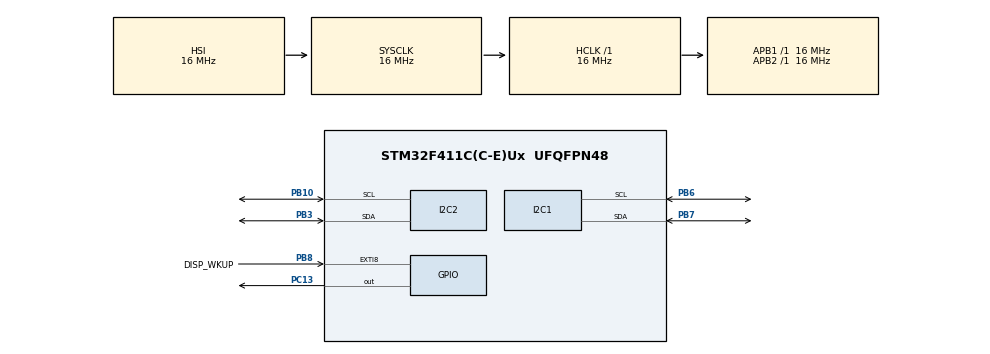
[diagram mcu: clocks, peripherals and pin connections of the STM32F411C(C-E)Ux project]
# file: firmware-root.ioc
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FREERTOS.Tasks01=defaultTask,24,128,StartDefaultTask,Default,NULL,Dynamic,NULL,NULL
Mcu.Family=STM32F4
Mcu.Name=STM32F411C(C-E)Ux
Mcu.Package=UFQFPN48
NVIC.EXTI9_5_IRQn=true\:5\:0\:false\:false\:true\:true\:true\:true\:true
NVIC.PriorityGroup=NVIC_PRIORITYGROUP_4
NVIC.RTC_WKUP_IRQn=true\:5\:0\:false\:false\:true\:true\:true\:true\:true
NVIC.TIM1_UP_TIM10_IRQn=true\:15\:0\:false\:false\:true\:false\:false\:true\:true
NVIC.TimeBase=TIM1_UP_TIM10_IRQn
NVIC.TimeBaseIP=TIM1
PA13.Mode=Serial_Wire
PA13.Signal=SYS_JTMS-SWDIO
PA14.Mode=Serial_Wire
PA14.Signal=SYS_JTCK-SWCLK
PB10.Mode=I2C
PB10.Signal=I2C2_SCL
PB3.Mode=I2C
PB3.Signal=I2C2_SDA
PB6.Mode=I2C
PB6.Signal=I2C1_SCL
PB7.Mode=I2C
PB7.Signal=I2C1_SDA
PB8.GPIO_Label=DISP_WKUP
PB8.GPIO_PuPd=GPIO_PULLUP
PB8.Signal=GPXTI8
PC13-ANTI_TAMP.Signal=GPIO_Output
PH0\ -\ OSC_IN.Mode=HSE-External-Oscillator
PH0\ -\ OSC_IN.Signal=RCC_OSC_IN
PH1\ -\ OSC_OUT.Mode=HSE-External-Oscillator
PH1\ -\ OSC_OUT.Signal=RCC_OSC_OUT
ProjectManager.HeapSize=0x200
ProjectManager.StackSize=0x400
ProjectManager.TargetToolchain=CMake
RCC.AHBFreq_Value=16000000
RCC.APB1Freq_Value=16000000
RCC.APB2Freq_Value=16000000
RCC.CortexFreq_Value=16000000
RCC.HSE_VALUE=25000000
RCC.HSI_VALUE=16000000
RCC.LSE_VALUE=32768
RCC.SYSCLKFreq_VALUE=16000000
RCC.VCOOutputFreq_Value=192000000
VP_FREERTOS_VS_CMSIS_V2.Mode=CMSIS_V2
VP_RTC_VS_RTC_Activate.Mode=RTC_Enabled
VP_RTC_VS_RTC_WakeUp_intern.Mode=WakeUp
VP_SYS_VS_tim1.Mode=TIM1
board=custom

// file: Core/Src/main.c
/* USER CODE BEGIN Header */
/**
  ******************************************************************************
  * @file           : main.c
  * @brief          : Main program body
  ******************************************************************************
  * @attention
  *
  * Copyright (c) 2026 STMicroelectronics.
  * All rights reserved.
  *
  * This software is licensed under terms that can be found in the LICENSE file
  * in the root directory of this software component.
  * If no LICENSE file comes with this software, it is provided AS-IS.
  *
  ******************************************************************************
  */
/* USER CODE END Header */
#include "main.h"
#include "cmsis_os.h"

/* USER CODE BEGIN Includes */
#include "sh1106.h"
#include "tasks.h"
#include "tsl2591.h"
#include "ui.h"
#include "power.h"
/* USER CODE END Includes */

I2C_HandleTypeDef hi2c1;
I2C_HandleTypeDef hi2c2;

RTC_HandleTypeDef hrtc;

/* Definitions for defaultTask */
osThreadId_t defaultTaskHandle;
const osThreadAttr_t defaultTask_attributes = {
  .name = "defaultTask",
  .stack_size = 128 * 4,
  .priority = (osPriority_t) osPriorityNormal,
};
/* USER CODE BEGIN PV */
static SH1106_Handle_t display_handle;
static TSL2591_Handle_t tsl_handle;
static SHT40_Handle_t sht_handle;
volatile bool button_wake_requested = false;
/* USER CODE END PV */

void SystemClock_Config(void);
static void MX_GPIO_Init(void);
static void MX_I2C1_Init(void);
static void MX_I2C2_Init(void);
static void MX_RTC_Init(void);
void StartDefaultTask(void *argument);

int main(void)
{

  /* MCU Configuration--------------------------------------------------------*/

  /* Reset of all peripherals, Initializes the Flash interface and the Systick. */
  HAL_Init();

  /* USER CODE BEGIN Init */
  const SH1106_Config_t display_config = {
    .hi2c                   = &hi2c1,
    // 00111100 << 1 = 01111000 = addr [7:1] + r/w [0]
    .i2c_addr               = (0x3C << 1),
    .contrast               = 0x80, // medium-high contrast
    .multiplex_ratio        = 0x3F, // 64 rows
    .display_offset         = 0x00, // no offset
    .start_line             = 0x40, // start at line 0
    .osc_freq_div_ratio     = 0x50, // POR
    .pump_voltage           = SH1106_PUMP_8_0V, // POR
    .com_pins_config        = SH1106_COM_ALTERNATIVE, // POR
    .mirror                 = SH1106_MIRROR_BOTH // POR
  };

  const TSL2591_Config_t lux_config = {
    .hi2c                   = &hi2c2,
    .i2c_addr               = TSL2591_ADDRESS,
    .gain                   = TSL2591_GAIN_MED,
    .integration_time       = TSL2591_INTEGRATIONTIME_200MS
  };
  /* USER CODE END Init */

  /* Configure the system clock */
  SystemClock_Config();

  /* Initialize all configured peripherals */
  MX_GPIO_Init();
  MX_I2C1_Init();
  MX_I2C2_Init();
  MX_RTC_Init();
  /* USER CODE BEGIN 2 */
  SH1106_Init(&display_handle, &display_config);
  TSL2591_Init(&tsl_handle, &lux_config);
  SHT40_Init(&sht_handle, &hi2c2, SHT40_ADDRESS);
  /* USER CODE END 2 */

  /* Init scheduler */
  osKernelInitialize();

  /* Create the thread(s) */
  /* creation of defaultTask */
  defaultTaskHandle = osThreadNew(StartDefaultTask, NULL, &defaultTask_attributes);

  /* USER CODE BEGIN RTOS_THREADS */
  Tasks_Init(&tsl_handle, &sht_handle, &display_handle);
  /* USER CODE END RTOS_THREADS */

  /* Start scheduler */
  osKernelStart();

  /* We should never get here as control is now taken by the scheduler */

  /* Infinite loop */
  while (1)
  {

  }
}

void SystemClock_Config(void)
{
  RCC_OscInitTypeDef RCC_OscInitStruct = {0};
  RCC_ClkInitTypeDef RCC_ClkInitStruct = {0};

  /** Configure the main internal regulator output voltage
  */
  __HAL_RCC_PWR_CLK_ENABLE();
  __HAL_PWR_VOLTAGESCALING_CONFIG(PWR_REGULATOR_VOLTAGE_SCALE1);

  /** Initializes the RCC Oscillators according to the specified parameters
  * in the RCC_OscInitTypeDef structure.
  */
  RCC_OscInitStruct.OscillatorType = RCC_OSCILLATORTYPE_HSI|RCC_OSCILLATORTYPE_LSI;
  RCC_OscInitStruct.HSIState = RCC_HSI_ON;
  RCC_OscInitStruct.HSICalibrationValue = RCC_HSICALIBRATION_DEFAULT;
  RCC_OscInitStruct.LSIState = RCC_LSI_ON;
  RCC_OscInitStruct.PLL.PLLState = RCC_PLL_NONE;
  if (HAL_RCC_OscConfig(&RCC_OscInitStruct) != HAL_OK)
  {
    Error_Handler();
  }

  /** Initializes the CPU, AHB and APB buses clocks
  */
  RCC_ClkInitStruct.ClockType = RCC_CLOCKTYPE_HCLK|RCC_CLOCKTYPE_SYSCLK
                              |RCC_CLOCKTYPE_PCLK1|RCC_CLOCKTYPE_PCLK2;
  RCC_ClkInitStruct.SYSCLKSource = RCC_SYSCLKSOURCE_HSI;
  RCC_ClkInitStruct.AHBCLKDivider = RCC_SYSCLK_DIV1;
  RCC_ClkInitStruct.APB1CLKDivider = RCC_HCLK_DIV1;
  RCC_ClkInitStruct.APB2CLKDivider = RCC_HCLK_DIV1;

  if (HAL_RCC_ClockConfig(&RCC_ClkInitStruct, FLASH_LATENCY_0) != HAL_OK)
  {
    Error_Handler();
  }
}

static void MX_I2C1_Init(void)
{

  hi2c1.Instance = I2C1;
  hi2c1.Init.ClockSpeed = 100000;
  hi2c1.Init.DutyCycle = I2C_DUTYCYCLE_2;
  hi2c1.Init.OwnAddress1 = 0;
  hi2c1.Init.AddressingMode = I2C_ADDRESSINGMODE_7BIT;
  hi2c1.Init.DualAddressMode = I2C_DUALADDRESS_DISABLE;
  hi2c1.Init.OwnAddress2 = 0;
  hi2c1.Init.GeneralCallMode = I2C_GENERALCALL_DISABLE;
  hi2c1.Init.NoStretchMode = I2C_NOSTRETCH_DISABLE;
  if (HAL_I2C_Init(&hi2c1) != HAL_OK)
  {
    Error_Handler();
  }

}

static void MX_I2C2_Init(void)
{

  hi2c2.Instance = I2C2;
  hi2c2.Init.ClockSpeed = 100000;
  hi2c2.Init.DutyCycle = I2C_DUTYCYCLE_2;
  hi2c2.Init.OwnAddress1 = 0;
  hi2c2.Init.AddressingMode = I2C_ADDRESSINGMODE_7BIT;
  hi2c2.Init.DualAddressMode = I2C_DUALADDRESS_DISABLE;
  hi2c2.Init.OwnAddress2 = 0;
  hi2c2.Init.GeneralCallMode = I2C_GENERALCALL_DISABLE;
  hi2c2.Init.NoStretchMode = I2C_NOSTRETCH_DISABLE;
  if (HAL_I2C_Init(&hi2c2) != HAL_OK)
  {
    Error_Handler();
  }

}

static void MX_RTC_Init(void)
{

  RTC_TimeTypeDef sTime = {0};
  RTC_DateTypeDef sDate = {0};

  /** Initialize RTC Only
  */
  hrtc.Instance = RTC;
  hrtc.Init.HourFormat = RTC_HOURFORMAT_24;
  hrtc.Init.AsynchPrediv = 127;
  hrtc.Init.SynchPrediv = 255;
  hrtc.Init.OutPut = RTC_OUTPUT_DISABLE;
  hrtc.Init.OutPutPolarity = RTC_OUTPUT_POLARITY_HIGH;
  hrtc.Init.OutPutType = RTC_OUTPUT_TYPE_OPENDRAIN;
  if (HAL_RTC_Init(&hrtc) != HAL_OK)
  {
    Error_Handler();
  }

  /** Initialize RTC and set the Time and Date
  */
  sTime.Hours = 0x0;
  sTime.Minutes = 0x0;
  sTime.Seconds = 0x0;
  sTime.DayLightSaving = RTC_DAYLIGHTSAVING_NONE;
  sTime.StoreOperation = RTC_STOREOPERATION_RESET;
  if (HAL_RTC_SetTime(&hrtc, &sTime, RTC_FORMAT_BCD) != HAL_OK)
  {
    Error_Handler();
  }
  sDate.WeekDay = RTC_WEEKDAY_MONDAY;
  sDate.Month = RTC_MONTH_JANUARY;
  sDate.Date = 0x1;
  sDate.Year = 0x0;

  if (HAL_RTC_SetDate(&hrtc, &sDate, RTC_FORMAT_BCD) != HAL_OK)
  {
    Error_Handler();
  }

  /** Enable the WakeUp
  */
  if (HAL_RTCEx_SetWakeUpTimer_IT(&hrtc, 0, RTC_WAKEUPCLOCK_RTCCLK_DIV16) != HAL_OK)
  {
    Error_Handler();
  }

}

static void MX_GPIO_Init(void)
{
  GPIO_InitTypeDef GPIO_InitStruct = {0};

  /* GPIO Ports Clock Enable */
  __HAL_RCC_GPIOC_CLK_ENABLE();
  __HAL_RCC_GPIOH_CLK_ENABLE();
  __HAL_RCC_GPIOB_CLK_ENABLE();
  __HAL_RCC_GPIOA_CLK_ENABLE();

  /*Configure GPIO pin Output Level */
  HAL_GPIO_WritePin(GPIOC, GPIO_PIN_13, GPIO_PIN_RESET);

  /*Configure GPIO pin : PC13 */
  GPIO_InitStruct.Pin = GPIO_PIN_13;
  GPIO_InitStruct.Mode = GPIO_MODE_OUTPUT_PP;
  GPIO_InitStruct.Pull = GPIO_NOPULL;
  GPIO_InitStruct.Speed = GPIO_SPEED_FREQ_LOW;
  HAL_GPIO_Init(GPIOC, &GPIO_InitStruct);

  /*Configure GPIO pin : DISP_WKUP_Pin */
  GPIO_InitStruct.Pin = DISP_WKUP_Pin;
  GPIO_InitStruct.Mode = GPIO_MODE_IT_RISING;
  GPIO_InitStruct.Pull = GPIO_PULLUP;
  HAL_GPIO_Init(DISP_WKUP_GPIO_Port, &GPIO_InitStruct);

  /* EXTI interrupt init*/
  HAL_NVIC_SetPriority(EXTI9_5_IRQn, 5, 0);
  HAL_NVIC_EnableIRQ(EXTI9_5_IRQn);

}

/* USER CODE BEGIN 4 */
void HAL_RTCEx_WakeUpTimerEventCallback(RTC_HandleTypeDef *hrtc)
{

}

void HAL_GPIO_EXTI_Callback(uint16_t GPIO_Pin)
{
  if (GPIO_Pin == DISP_WKUP_Pin) button_wake_requested = true;
}
/* USER CODE END 4 */

void StartDefaultTask(void *argument)
{
  /* USER CODE BEGIN 5 */
  for(;;)
  {
    if (button_wake_requested)
    {
        button_wake_requested = false;

        SH1106_Wakeup(&display_handle);
        xTaskNotifyGive(ui_task_handle);
        xEventGroupWaitBits(xSyncEventGroup,
                            FLAG_UI_DONE,
                            pdTRUE,
                            pdTRUE,
                            portMAX_DELAY);

        vTaskDelay(pdMS_TO_TICKS(10000));

        SH1106_Sleep(&display_handle);
    }
    else
    {
        TSL2591_Enable(&tsl_handle);

        xTaskNotifyGive(tsl2591_task_handle);
        xTaskNotifyGive(sht40_task_handle);

        xEventGroupWaitBits(xSyncEventGroup,
                            (FLAG_TSL_DONE | FLAG_SHT_DONE),
                            pdTRUE,
                            pdTRUE,
                            portMAX_DELAY);

        // TODO LoRa Transmit

        TSL2591_Disable(&tsl_handle);
    }

    Power_Enter_Stop_Mode(300);
  }
  /* USER CODE END 5 */
}

void HAL_TIM_PeriodElapsedCallback(TIM_HandleTypeDef *htim)
{
  if (htim->Instance == TIM1)
  {
    HAL_IncTick();
  }
}

void Error_Handler(void)
{
  __disable_irq();
  while (1)
  {
  }
}
